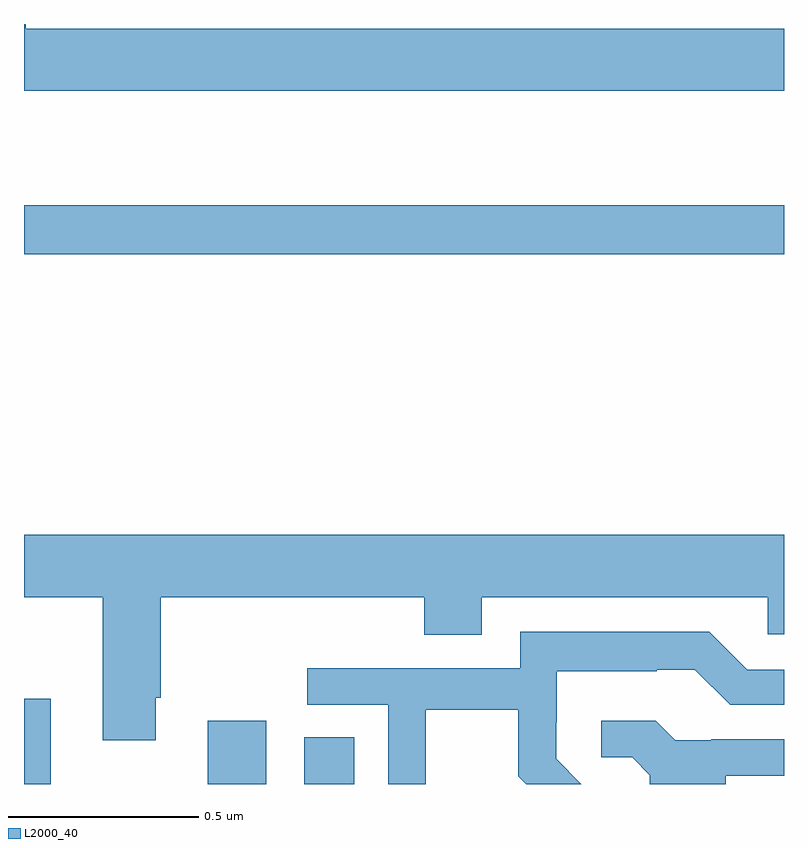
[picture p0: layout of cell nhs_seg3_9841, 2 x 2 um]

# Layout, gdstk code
import gdstk
lib = gdstk.Library(unit=1e-6, precision=1e-09)
def R(c, l, rs):  # rectangles x0, y0, x1, y1
    for r in rs: c.add(gdstk.rectangle(r[:2], r[2:], *l))
def P(c, l, *ps):  # polygons
    for p in ps: c.add(gdstk.Polygon(p, *l))
L2000_40 = (2000, 40)

nhs_seg3_9841 = lib.new_cell('nhs_seg3_9841')
R(nhs_seg3_9841, L2000_40, [(233,724.4,233.07,724.624), (233.483,724.4,233.638,724.567), (233.738,724.4,233.869,724.523), (233,725.794,235,725.923)])
P(nhs_seg3_9841, L2000_40, [(235,726.388),(233.005,726.388),(233.005,726.4),(233,726.4),(233,726.224),(235,726.224)],
  [(233.347,724.627),(233.36,724.627),(233.36,724.892),(234.053,724.892),(234.053,724.793),(234.205,724.793),(234.205,724.892),(234.957,724.892),(234.957,724.794),(235,724.794),(235,725.056),(233,725.056),(233,724.892),(233.207,724.892),(233.207,724.515),(233.347,724.515)],
  [(234.057,724.596),(234.301,724.596),(234.301,724.421),(234.322,724.4),(234.466,724.4),(234.4,724.466),(234.4,724.563),(234.402,724.563),(234.402,724.697),(234.665,724.697),(234.665,724.701),(234.765,724.701),(234.858,724.608),(235,724.608),(235,724.701),(234.903,724.701),(234.803,724.801),(234.306,724.801),(234.306,724.704),(233.745,724.704),(233.745,724.608),(233.958,724.608),(233.958,724.4),(234.057,724.4)],
  [(234.847,724.422),(235,724.422),(235,724.518),(234.808,724.518),(234.808,724.515),(234.714,724.515),(234.662,724.567),(234.519,724.567),(234.519,724.47),(234.6,724.47),(234.647,724.423),(234.647,724.4),(234.847,724.4)])

lib.write_gds('nhs_seg3_9841.gds')
